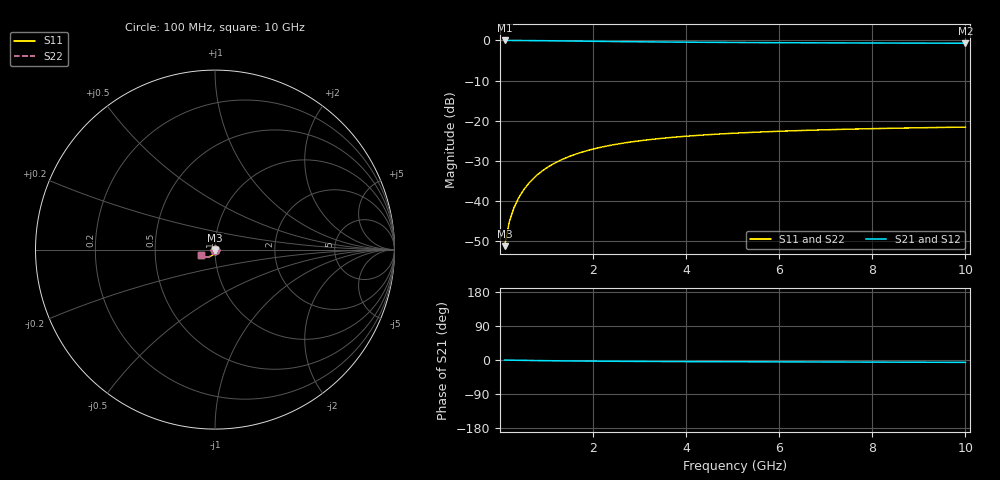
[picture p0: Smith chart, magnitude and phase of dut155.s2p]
! Touchstone file exported from HFSS 2024.1.0
!  File:  C:/UserFiles/LocalFiles/RDL_TSV_Batchsim/temp_TSV1_155_1778755383.aedt
!  Generated:  06:47:26 PM May 14, 2026
!  Design:  TSV1
!  Project:  temp_TSV1_155_1778755383
!  Setup:  Setup1
!  Solution:  Sweep
! Variables:
!  dtsv = 18.06um
!  hbump = 3um
!  htsv = 91.2um
!  lrdl = 252.1521522um
!  p = 40
!  p1 = 56.3um
!  t = 500um
!  trdl = 3um
!  wrdl = 24.89489489um
# GHz S MA R 50.000000
! Terminal data exported
! Port[1] = TSV22_T1
! Port[2] = TSV22_T2
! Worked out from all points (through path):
!   100 points, 100 MHz to 10 GHz, reference 50 ohm
!   highest |S21| = 0.00 dB at 100 MHz (marker M1); lowest = -0.7 dB at 10 GHz (marker M2)
!   lowest |S11| = -51.3 dB at 100 MHz (marker M3), VSWR 1.01, Z = 50 - j0.272 ohm
!   |S11| at or under -10 dB: start of sweep to end of sweep
!   |S22| runs from -51.3 to -21.6 dB; largest |S21 - S12| = 8.1e-15
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0.1  0.002719 -90.4  0.9998 -0.2  0.9998 -0.2  0.002719 -90.4
! Gamma 0 0 0 0
! Port Impedance 50 0 50 0
0.2  0.005448 -93.0  0.9995 -0.4  0.9995 -0.4  0.005448 -93.0
0.3  0.008159 -95.3  0.999 -0.6  0.999 -0.6  0.008159 -95.3
0.4  0.01083 -97.4  0.9984 -0.8  0.9984 -0.8  0.01083 -97.4
0.5  0.01347 -99.5  0.9975 -1.0  0.9975 -1.0  0.01347 -99.5
0.6  0.01604 -101.4  0.9966 -1.2  0.9966 -1.2  0.01604 -101.4
0.7  0.01856 -103.4  0.9955 -1.3  0.9955 -1.3  0.01856 -103.4
0.8  0.021 -105.2  0.9943 -1.5  0.9943 -1.5  0.021 -105.2
0.9  0.02338 -107.0  0.993 -1.7  0.993 -1.7  0.02338 -107.0
1.1  0.02788 -110.5  0.9902 -2.0  0.9902 -2.0  0.02788 -110.5
1.4  0.03403 -115.3  0.9856 -2.4  0.9856 -2.4  0.03403 -115.3
1.6  0.03771 -118.2  0.9824 -2.6  0.9824 -2.6  0.03771 -118.2
1.8  0.04108 -120.9  0.9792 -2.8  0.9792 -2.8  0.04108 -120.9
2.1  0.04559 -124.6  0.9746 -3.1  0.9746 -3.1  0.04559 -124.6
2.5  0.05073 -128.8  0.9688 -3.4  0.9688 -3.4  0.05073 -128.8
2.9  0.05504 -132.5  0.9636 -3.6  0.9636 -3.6  0.05504 -132.5
3.4  0.05952 -136.3  0.9578 -3.9  0.9578 -3.9  0.05952 -136.3
4.2  0.06517 -141.2  0.9502 -4.3  0.9502 -4.3  0.06517 -141.2
5.1  0.06999 -145.6  0.9434 -4.6  0.9434 -4.6  0.06999 -145.6
6.7  0.07602 -151.2  0.9345 -5.1  0.9345 -5.1  0.07602 -151.2
8.4  0.08027 -155.6  0.928 -5.7  0.928 -5.7  0.08027 -155.6
10  0.08306 -158.7  0.9237 -6.2  0.9237 -6.2  0.08306 -158.7
